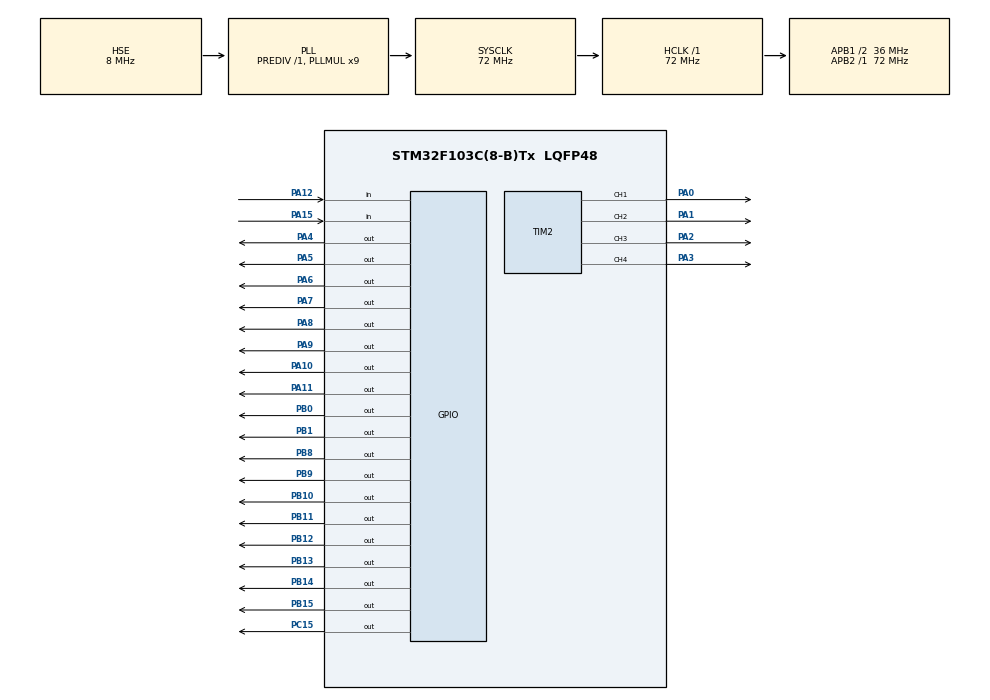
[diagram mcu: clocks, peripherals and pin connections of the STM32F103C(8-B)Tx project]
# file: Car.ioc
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Mcu.Family=STM32F1
Mcu.Name=STM32F103C(8-B)Tx
Mcu.Package=LQFP48
NVIC.PriorityGroup=NVIC_PRIORITYGROUP_4
PA0-WKUP.Signal=S_TIM2_CH1_ETR
PA1.Signal=S_TIM2_CH2
PA10.PinState=GPIO_PIN_SET
PA10.Signal=GPIO_Output
PA11.Signal=GPIO_Output
PA12.GPIO_PuPd=GPIO_PULLUP
PA12.Signal=GPIO_Input
PA13.Mode=Serial_Wire
PA13.Signal=SYS_JTMS-SWDIO
PA14.Mode=Serial_Wire
PA14.Signal=SYS_JTCK-SWCLK
PA15.GPIO_PuPd=GPIO_PULLUP
PA15.Signal=GPIO_Input
PA2.Signal=S_TIM2_CH3
PA3.Signal=S_TIM2_CH4
PA4.Signal=GPIO_Output
PA5.PinState=GPIO_PIN_SET
PA5.Signal=GPIO_Output
PA6.Signal=GPIO_Output
PA7.Signal=GPIO_Output
PA8.Signal=GPIO_Output
PA9.Signal=GPIO_Output
PB0.Signal=GPIO_Output
PB1.Signal=GPIO_Output
PB10.Signal=GPIO_Output
PB11.Signal=GPIO_Output
PB12.Signal=GPIO_Output
PB13.Signal=GPIO_Output
PB14.Signal=GPIO_Output
PB15.Signal=GPIO_Output
PB8.Signal=GPIO_Output
PB9.Signal=GPIO_Output
PC15-OSC32_OUT.Signal=GPIO_Output
PD0-OSC_IN.Mode=HSE-External-Oscillator
PD0-OSC_IN.Signal=RCC_OSC_IN
PD1-OSC_OUT.Mode=HSE-External-Oscillator
PD1-OSC_OUT.Signal=RCC_OSC_OUT
ProjectManager.HeapSize=0x200
ProjectManager.StackSize=0x400
ProjectManager.TargetToolchain=MDK-ARM V5.32
RCC.AHBFreq_Value=72000000
RCC.APB1CLKDivider=RCC_HCLK_DIV2
RCC.APB1Freq_Value=36000000
RCC.APB1TimFreq_Value=72000000
RCC.APB2Freq_Value=72000000
RCC.APB2TimFreq_Value=72000000
RCC.HCLKFreq_Value=72000000
RCC.PLLMUL=RCC_PLL_MUL9
RCC.PLLSourceVirtual=RCC_PLLSOURCE_HSE
RCC.SYSCLKFreq_VALUE=72000000
RCC.SYSCLKSource=RCC_SYSCLKSOURCE_PLLCLK
RCC.USBFreq_Value=72000000
SH.S_TIM2_CH1_ETR.0=TIM2_CH1,PWM Generation1 CH1
SH.S_TIM2_CH2.0=TIM2_CH2,PWM Generation2 CH2
SH.S_TIM2_CH3.0=TIM2_CH3,PWM Generation3 CH3
SH.S_TIM2_CH4.0=TIM2_CH4,PWM Generation4 CH4
TIM2.Channel-PWM\ Generation1\ CH1=TIM_CHANNEL_1
TIM2.Channel-PWM\ Generation2\ CH2=TIM_CHANNEL_2
TIM2.Channel-PWM\ Generation3\ CH3=TIM_CHANNEL_3
TIM2.Channel-PWM\ Generation4\ CH4=TIM_CHANNEL_4
board=custom

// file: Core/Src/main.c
/* USER CODE BEGIN Header */
/**
  ******************************************************************************
  * @file           : main.c
  * @brief          : Main program body
  ******************************************************************************
  * @attention
  *
  * Copyright (c) 2026 STMicroelectronics.
  * All rights reserved.
  *
  * This software is licensed under terms that can be found in the LICENSE file
  * in the root directory of this software component.
  * If no LICENSE file comes with this software, it is provided AS-IS.
  *
  ******************************************************************************
  */
/* USER CODE END Header */
#include "main.h"
#include "tim.h"
#include "gpio.h"

/* USER CODE BEGIN Includes */
#include "motor.h"
#include "OLED.h"
#include "nrf24l01.h"
/* USER CODE END Includes */

/* USER CODE BEGIN PD */
/* 命令字（与手端 main.c 的 GES_* 编号一致，手端直接把手势编号当命令发） */
#define CMD_STOP    0	/* 放平：停车 */
#define CMD_FRONT   1	/* 前倾：前进 */
#define CMD_BACK    2	/* 后倾：后退 */
#define CMD_LEFT    3	/* 左倾：左平移 */
#define CMD_RIGHT   4	/* 右倾：右平移 */
#define CMD_ROTL    5	/* 左拧：原地逆时针旋转 360° */
#define CMD_ROTR    6	/* 右拧：原地顺时针旋转 360° */
#define CMD_LOCKTOG 7	/* 手端 PA6 按下：解锁/锁定切换（2026-09-14 加，遥控解锁） */

/* 失联保护（自动重连，2026-09-26 改）：
   收不到有效包超过 LINK_TIMEOUT_MS → 立即停车（安全第一），但不再上锁；
   之后连续稳定收到 LINK_GOOD_FRAMES 个有效包（约 0.3s @30Hz）自动恢复响应，
   全程不用按键。上锁只剩两种途径：上电默认锁定 + 手端 PA6（命令 7）
   电机 EMI 会压死车端 NRF 接收（车一停链路就恢复），自动重连后车能自己继续走 */
#define LINK_TIMEOUT_MS     500
#define LINK_GOOD_FRAMES    10
/* USER CODE END PD */

/* USER CODE BEGIN PV */
/* 主循环状态变量都在 USER CODE 3 里用 static 定义（和手端风格一致） */
/* USER CODE END PV */

void SystemClock_Config(void);

int main(void)
{

  /* MCU Configuration--------------------------------------------------------*/

  /* Reset of all peripherals, Initializes the Flash interface and the Systick. */
  HAL_Init();

  /* Configure the system clock */
  SystemClock_Config();

  /* Initialize all configured peripherals */
  MX_GPIO_Init();
  MX_TIM2_Init();
  /* USER CODE BEGIN 2 */
  OLED_Init();				/* OLED 初始化（内部自带上电延时） */
  Motor_Init();				/* 电机初始化（上电刹车，车轮锁死） */
  /* 注意顺序：Motor_Init 必须在 OLED_Init 之后，因为 OLED 驱动内部会重跑
     MX_GPIO_Init，把方向脚清成低电平；后初始化电机才能保证最终状态是刹车 */
  NRF24L01_Init();			/* NRF 初始化（默认进入接收模式） */
  /* 开机界面：上电默认锁定，不响应手势 */
  OLED_Clear();
  OLED_ShowString(1, 1, "SYS: LOCKED  ");
  OLED_ShowString(2, 1, "ACT: STOP    ");
  OLED_ShowString(3, 1, "LINK: LOST  ");
  /* USER CODE END 2 */

  /* Infinite loop */
  while (1)
  {

    /* USER CODE BEGIN 3 */
    /* ---- 主循环：60Hz 节奏，NRF 接收 + 命令执行 + OLED 显示 ---- */
    static uint32_t lastTick = 0;
    static uint32_t lastCmdTick = 0;        /* 最后一次收到有效包的时刻 */
    static uint8_t  carLocked  = 1;         /* 整车开关：上电默认锁定（仅手端 PA6 可切换） */
    static uint8_t  lastCmd    = CMD_STOP;  /* 最近一次有效命令 */
    static uint32_t rotUntil   = 0;         /* 旋转结束时刻（0=不在旋转） */
    static uint8_t  rotDisp    = CMD_STOP;  /* 旋转中 OLED 显示的动作 */
    static uint8_t  lastSYS    = 0xFF;      /* OLED 三行显示缓存（0xFF=强制重画） */
    static uint8_t  lastACT    = 0xFF;
    static uint8_t  lastLINK   = 0xFF;
    static uint8_t  linkEver   = 0;         /* 收到过有效包才显示 LINK OK */
    static uint8_t  lockCmdSeen = 0;        /* 命令 7 上升沿去重：同一次连发只切换一次 */
    static uint16_t linkGoodCnt = 0;        /* 连续有效包计数：失联后攒够 LINK_GOOD_FRAMES 才恢复执行 */
    static uint16_t redrawCnt  = 0;         /* 每 0.5s 全刷防软 I2C 偶发花屏 */
    uint32_t now;

    if (HAL_GetTick() - lastTick >= 16)
    {
        lastTick = HAL_GetTick();
        now = HAL_GetTick();

        /* ---- 1. NRF 接收（锁定状态下也接收，维持链路检测） ---- */
        uint8_t rx = NRF24L01_Receive();
        if (rx == 1)
        {
            uint8_t hdr = NRF24L01_RxPacket[0];
            uint8_t cmd = NRF24L01_RxPacket[1];
            if (hdr == 0xA5 && NRF24L01_RxPacket[3] == (uint8_t)(hdr + cmd + NRF24L01_RxPacket[2]))
            {
                lastCmdTick = now;          /* 有效包：喂链路狗 */
                linkEver = 1;
                if (linkGoodCnt < LINK_GOOD_FRAMES)
                    linkGoodCnt++;          /* 连续有效包计数（失联后攒够才恢复执行） */
                if (cmd == CMD_LOCKTOG)     /* 手端 PA6：上电启动/锁车切换（锁定期间也生效） */
                {
                    /* 手端按一次会连发一串命令 7（400ms ≈ 12 帧），
                       只在"7 的上升沿"（前一个是手势帧）切换一次，重复帧忽略 */
                    if (lockCmdSeen == 0)
                    {
                        lockCmdSeen = 1;
                        carLocked = !carLocked;
                        Car_Stop();
                        rotUntil = 0;
                        lastCmd = CMD_STOP; /* 解锁后停在原地，等新手势 */
                        lastSYS = 0xFF;     /* 强制刷新 SYS 行 */
                        lastACT = 0xFF;
                    }
                }
                else
                {
                    lockCmdSeen = 0;        /* 手势帧复位上升沿检测 */
                    if (!carLocked)
                    {
                        lastCmd = cmd;      /* 锁定期间忽略命令 */
                    }
                }
            }
            /* rx==2/3：驱动内部已自动重启初始化，忽略即可 */
        }

        /* ---- 2. 失联保护：只停车不上锁，链路稳定恢复后自动继续（自动重连） ---- */
        if (!carLocked && (now - lastCmdTick) > LINK_TIMEOUT_MS)
        {
            if (linkGoodCnt != 0)
            {
                linkGoodCnt = 0;            /* 进入失联：立即停车（安全第一），重连从零攒稳定包 */
                Car_Stop();
                rotUntil = 0;
                lastCmd = CMD_STOP;
                lastACT = 0xFF;
            }
        }

        /* ---- 3. 命令执行（解锁 + 链路就绪；失联重连攒够稳定包才恢复） ---- */
        if (!carLocked && (linkGoodCnt >= LINK_GOOD_FRAMES))
        {
            if (rotUntil != 0)              /* 旋转进行中：优先转完，忽略其他命令 */
            {
                if ((int32_t)(now - rotUntil) >= 0)
                {
                    Car_Stop();             /* 转满一圈，停车 */
                    rotUntil = 0;
                    lastCmd = CMD_STOP;     /* 防积压的旋转帧再次触发 */
                    while (NRF24L01_Receive() != 0);    /* 丢弃旋转期间积压的旧帧 */
                    lastACT = 0xFF;
                }
                else
                {
                    /* 旋转进行中也要每拍喂一次 Car_Move：软启动每拍只爬一步，
                       只在触发拍调用一次的话，整个旋转会停在约 6% 占空比上
                       （2026-09-12 实测现象：旋转又慢又像只有单边在动） */
                    Car_Move((rotDisp == CMD_ROTL) ? CAR_ROT_CCW : CAR_ROT_CW);
                }
            }
            else
            {
                switch (lastCmd)
                {
                    case CMD_STOP:  Car_Stop(); break;   /* 放平：停车（重复调用无害） */
                    case CMD_FRONT: Car_Move(CAR_FWD);  break;
                    case CMD_BACK:  Car_Move(CAR_BACK); break;
                    case CMD_LEFT:  Car_Move(CAR_LEFT); break;
                    case CMD_RIGHT: Car_Move(CAR_RIGHT); break;
                    case CMD_ROTL:                      /* 逆时针旋转 360°（定时开环） */
                        Car_Move(CAR_ROT_CCW);
                        rotUntil = now + ROT_360_TIME_MS;
                        rotDisp  = CMD_ROTL;
                        lastACT = 0xFF;
                        break;
                    case CMD_ROTR:                      /* 顺时针旋转 360° */
                        Car_Move(CAR_ROT_CW);
                        rotUntil = now + ROT_360_TIME_MS;
                        rotDisp  = CMD_ROTR;
                        lastACT = 0xFF;
                        break;
                    default: break;
                }
            }
        }

        /* ---- 4. OLED 三行显示（变化时重画 + 每 0.5s 全刷防花屏） ---- */
        uint8_t dispSYS  = carLocked ? 0 : 1;
        uint8_t dispACT  = (rotUntil != 0) ? rotDisp
                         : ((linkGoodCnt < LINK_GOOD_FRAMES) ? CMD_STOP : lastCmd);
        uint8_t dispLINK = (linkEver && ((now - lastCmdTick) <= LINK_TIMEOUT_MS)) ? 1 : 0;

        if (++redrawCnt >= 32)              /* 约 0.5s 全刷一遍 */
        {
            redrawCnt = 0;
            lastSYS = 0xFF;
            lastACT = 0xFF;
            lastLINK = 0xFF;
        }

        if (dispSYS != lastSYS)
        {
            lastSYS = dispSYS;
            if (dispSYS) OLED_ShowString(1, 1, "SYS: UNLOCKED");
            else         OLED_ShowString(1, 1, "SYS: LOCKED  ");
        }
        if (dispACT != lastACT)
        {
            lastACT = dispACT;
            switch (dispACT)
            {
                case CMD_FRONT: OLED_ShowString(2, 1, "ACT: FRONT   "); break;
                case CMD_BACK:  OLED_ShowString(2, 1, "ACT: BACK    "); break;
                case CMD_LEFT:  OLED_ShowString(2, 1, "ACT: LEFT    "); break;
                case CMD_RIGHT: OLED_ShowString(2, 1, "ACT: RIGHT   "); break;
                case CMD_ROTL:  OLED_ShowString(2, 1, "ACT: ROTATE L"); break;
                case CMD_ROTR:  OLED_ShowString(2, 1, "ACT: ROTATE R"); break;
                default:        OLED_ShowString(2, 1, "ACT: STOP    "); break;
            }
        }
        if (dispLINK != lastLINK)
        {
            lastLINK = dispLINK;
            if (dispLINK) OLED_ShowString(3, 1, "LINK: OK    ");
            else          OLED_ShowString(3, 1, "LINK: LOST  ");
        }
    }
  }
  /* USER CODE END 3 */
}

void SystemClock_Config(void)
{
  RCC_OscInitTypeDef RCC_OscInitStruct = {0};
  RCC_ClkInitTypeDef RCC_ClkInitStruct = {0};

  /** Initializes the RCC Oscillators according to the specified parameters
  * in the RCC_OscInitTypeDef structure.
  */
  RCC_OscInitStruct.OscillatorType = RCC_OSCILLATORTYPE_HSE;
  RCC_OscInitStruct.HSEState = RCC_HSE_ON;
  RCC_OscInitStruct.HSEPredivValue = RCC_HSE_PREDIV_DIV1;
  RCC_OscInitStruct.HSIState = RCC_HSI_ON;
  RCC_OscInitStruct.PLL.PLLState = RCC_PLL_ON;
  RCC_OscInitStruct.PLL.PLLSource = RCC_PLLSOURCE_HSE;
  RCC_OscInitStruct.PLL.PLLMUL = RCC_PLL_MUL9;
  if (HAL_RCC_OscConfig(&RCC_OscInitStruct) != HAL_OK)
  {
    Error_Handler();
  }

  /** Initializes the CPU, AHB and APB buses clocks
  */
  RCC_ClkInitStruct.ClockType = RCC_CLOCKTYPE_HCLK|RCC_CLOCKTYPE_SYSCLK
                              |RCC_CLOCKTYPE_PCLK1|RCC_CLOCKTYPE_PCLK2;
  RCC_ClkInitStruct.SYSCLKSource = RCC_SYSCLKSOURCE_PLLCLK;
  RCC_ClkInitStruct.AHBCLKDivider = RCC_SYSCLK_DIV1;
  RCC_ClkInitStruct.APB1CLKDivider = RCC_HCLK_DIV2;
  RCC_ClkInitStruct.APB2CLKDivider = RCC_HCLK_DIV1;

  if (HAL_RCC_ClockConfig(&RCC_ClkInitStruct, FLASH_LATENCY_2) != HAL_OK)
  {
    Error_Handler();
  }
}

void Error_Handler(void)
{
  __disable_irq();
  while (1)
  {
  }
}
